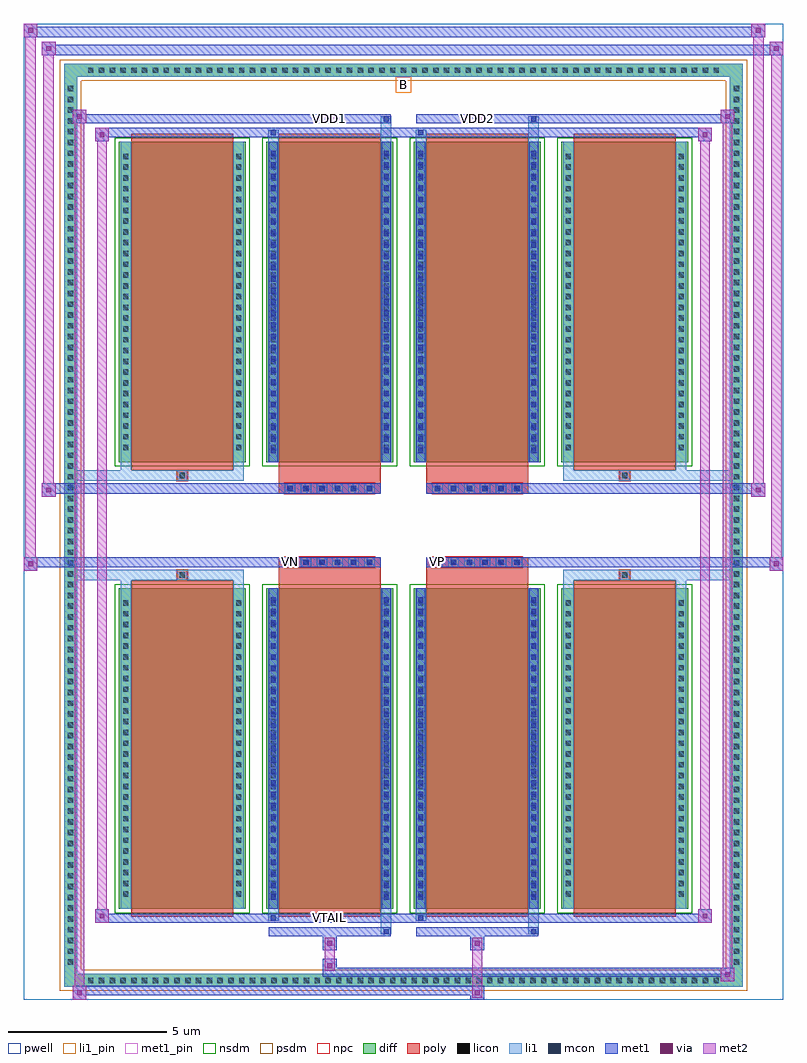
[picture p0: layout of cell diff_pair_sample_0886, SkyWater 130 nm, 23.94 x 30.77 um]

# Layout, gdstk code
import gdstk
lib = gdstk.Library(unit=1e-6, precision=5e-09)
def R(c, l, rs):  # rectangles x0, y0, x1, y1
    for r in rs: c.add(gdstk.rectangle(r[:2], r[2:], *l))
def A(c, l, x, y, w, h, nx, ny, dx, dy):  # array of equal rectangles
    R(c, l, [(x+i*dx, y+j*dy, x+i*dx+w, y+j*dy+h) for i in range(nx) for j in range(ny)])
def P(c, l, *ps):  # polygons
    for p in ps: c.add(gdstk.Polygon(p, *l))
pwell = (64, 44)
diff = (65, 20)
poly = (66, 20)
licon = (66, 44)
li1_pin = (67, 16)
li1 = (67, 20)
mcon = (67, 44)
met1_pin = (68, 16)
met1 = (68, 20)
via = (68, 44)
met2 = (69, 20)
nsdm = (93, 44)
psdm = (94, 20)
npc = (95, 20)

diff_pair_sample_0886 = lib.new_cell('diff_pair_sample_0886')
R(diff_pair_sample_0886, pwell, [(-11.97,-14.95,11.97,15.82), (-9.29,-13.14,-0.01,-0.8), (0.01,-13.14,9.29,-0.8), (-9.29,0.8,-0.01,13.14), (0.01,0.8,9.29,13.14)])
A(diff_pair_sample_0886, diff, -10.065, -14.55, 0.41, 0.41, 59, 2, 0.34, 28.69)
A(diff_pair_sample_0886, diff, -10.7, -13.975, 0.41, 0.41, 1, 82, 0, 0.34)
A(diff_pair_sample_0886, diff, 10.29, -13.975, 0.41, 0.41, 1, 82, 0, 0.34)
A(diff_pair_sample_0886, diff, -8.98, -12.095, 4.01, 10.11, 4, 2, 4.65, 14.08)
R(diff_pair_sample_0886, diff, [(-10.065,-14.55,10.065,-14.14), (-10.7,-13.975,-10.29,13.975), (10.29,-13.975,10.7,13.975), (-10.065,14.14,10.065,14.55)])
P(diff_pair_sample_0886, diff, [(10.7,14.55),(-10.7,14.55),(-10.7,-14.14),(-10.29,-14.14),(-10.29,14.14),(10.29,14.14),(10.29,-14.14),(-10.29,-14.14),(-10.7,-14.14),(-10.7,-14.55),(10.7,-14.55)])
A(diff_pair_sample_0886, poly, -8.59, -12.345, 3.23, 10.61, 4, 2, 4.65, 14.08)
A(diff_pair_sample_0886, poly, -3.74, -1.33, 0.33, 0.33, 6, 2, 0.5, 2.33)
A(diff_pair_sample_0886, poly, 0.91, -1.33, 0.33, 0.33, 6, 2, 0.5, 2.33)
R(diff_pair_sample_0886, poly, [(-7.14,-1.735,-6.81,-1.405), (-7.14,-1.735,-6.81,-1.405), (-3.94,-1.735,-0.71,-1.33), (0.71,-1.735,3.94,-1.33), (6.81,-1.735,7.14,-1.405), (6.81,-1.735,7.14,-1.405), (-3.94,-1.33,-0.71,-1), (0.71,-1.33,3.94,-1), (-3.94,1,-0.71,1.33), (0.71,1,3.94,1.33), (-3.94,1.33,-0.71,1.735), (0.71,1.33,3.94,1.735), (-7.14,1.405,-6.81,1.735), (-7.14,1.405,-6.81,1.735), (6.81,1.405,7.14,1.735), (6.81,1.405,7.14,1.735)])
A(diff_pair_sample_0886, licon, -9.945, -14.43, 0.17, 0.17, 59, 2, 0.34, 28.69)
A(diff_pair_sample_0886, licon, -10.58, -13.855, 0.17, 0.17, 1, 82, 0, 0.34)
A(diff_pair_sample_0886, licon, 10.41, -13.855, 0.17, 0.17, 1, 82, 0, 0.34)
A(diff_pair_sample_0886, licon, -8.84, -11.715, 0.17, 0.17, 1, 28, 0, 0.34)
A(diff_pair_sample_0886, licon, -5.28, -11.715, 0.17, 0.17, 1, 28, 0, 0.34)
A(diff_pair_sample_0886, licon, -4.19, -11.715, 0.17, 0.17, 1, 28, 0, 0.34)
A(diff_pair_sample_0886, licon, -0.63, -11.715, 0.17, 0.17, 1, 28, 0, 0.34)
A(diff_pair_sample_0886, licon, 0.46, -11.715, 0.17, 0.17, 1, 28, 0, 0.34)
A(diff_pair_sample_0886, licon, 4.02, -11.715, 0.17, 0.17, 1, 28, 0, 0.34)
A(diff_pair_sample_0886, licon, 5.11, -11.715, 0.17, 0.17, 1, 28, 0, 0.34)
A(diff_pair_sample_0886, licon, 8.67, -11.715, 0.17, 0.17, 1, 28, 0, 0.34)
A(diff_pair_sample_0886, licon, -3.66, -1.25, 0.17, 0.17, 6, 2, 0.5, 2.33)
A(diff_pair_sample_0886, licon, 0.99, -1.25, 0.17, 0.17, 6, 2, 0.5, 2.33)
A(diff_pair_sample_0886, licon, -8.84, 2.365, 0.17, 0.17, 1, 28, 0, 0.34)
A(diff_pair_sample_0886, licon, -5.28, 2.365, 0.17, 0.17, 1, 28, 0, 0.34)
A(diff_pair_sample_0886, licon, -4.19, 2.365, 0.17, 0.17, 1, 28, 0, 0.34)
A(diff_pair_sample_0886, licon, -0.63, 2.365, 0.17, 0.17, 1, 28, 0, 0.34)
A(diff_pair_sample_0886, licon, 0.46, 2.365, 0.17, 0.17, 1, 28, 0, 0.34)
A(diff_pair_sample_0886, licon, 4.02, 2.365, 0.17, 0.17, 1, 28, 0, 0.34)
A(diff_pair_sample_0886, licon, 5.11, 2.365, 0.17, 0.17, 1, 28, 0, 0.34)
A(diff_pair_sample_0886, licon, 8.67, 2.365, 0.17, 0.17, 1, 28, 0, 0.34)
R(diff_pair_sample_0886, licon, [(-7.06,-1.655,-6.89,-1.485), (6.89,-1.655,7.06,-1.485), (-7.06,1.485,-6.89,1.655), (6.89,1.485,7.06,1.655)])
R(diff_pair_sample_0886, li1_pin, [(-0.25,13.64,0.25,14.14)])
A(diff_pair_sample_0886, li1, -10.025, -14.51, 0.33, 0.33, 59, 2, 0.34, 28.69)
A(diff_pair_sample_0886, li1, -10.66, -13.935, 0.33, 0.33, 1, 82, 0, 0.34)
A(diff_pair_sample_0886, li1, 10.33, -13.935, 0.33, 0.33, 1, 82, 0, 0.34)
A(diff_pair_sample_0886, li1, -4.19, -11.805, 0.17, 0.17, 1, 27, 0, 0.36)
A(diff_pair_sample_0886, li1, -0.63, -11.805, 0.17, 0.17, 1, 27, 0, 0.36)
A(diff_pair_sample_0886, li1, 0.46, -11.805, 0.17, 0.17, 1, 27, 0, 0.36)
A(diff_pair_sample_0886, li1, 4.02, -11.805, 0.17, 0.17, 1, 27, 0, 0.36)
A(diff_pair_sample_0886, li1, -8.92, -11.795, 0.33, 0.33, 1, 28, 0, 0.34)
A(diff_pair_sample_0886, li1, -5.36, -11.795, 0.33, 0.33, 1, 28, 0, 0.34)
A(diff_pair_sample_0886, li1, -4.27, -11.795, 0.33, 0.33, 1, 28, 0, 0.34)
A(diff_pair_sample_0886, li1, -0.71, -11.795, 0.33, 0.33, 1, 28, 0, 0.34)
A(diff_pair_sample_0886, li1, 0.38, -11.795, 0.33, 0.33, 1, 28, 0, 0.34)
A(diff_pair_sample_0886, li1, 3.94, -11.795, 0.33, 0.33, 1, 28, 0, 0.34)
A(diff_pair_sample_0886, li1, 5.03, -11.795, 0.33, 0.33, 1, 28, 0, 0.34)
A(diff_pair_sample_0886, li1, 8.59, -11.795, 0.33, 0.33, 1, 28, 0, 0.34)
A(diff_pair_sample_0886, li1, -3.74, -1.33, 0.33, 0.33, 6, 2, 0.5, 2.33)
A(diff_pair_sample_0886, li1, 0.91, -1.33, 0.33, 0.33, 6, 2, 0.5, 2.33)
A(diff_pair_sample_0886, li1, -4.19, 2.275, 0.17, 0.17, 1, 27, 0, 0.36)
A(diff_pair_sample_0886, li1, -0.63, 2.275, 0.17, 0.17, 1, 27, 0, 0.36)
A(diff_pair_sample_0886, li1, 0.46, 2.275, 0.17, 0.17, 1, 27, 0, 0.36)
A(diff_pair_sample_0886, li1, 4.02, 2.275, 0.17, 0.17, 1, 27, 0, 0.36)
A(diff_pair_sample_0886, li1, -8.92, 2.285, 0.33, 0.33, 1, 28, 0, 0.34)
A(diff_pair_sample_0886, li1, -5.36, 2.285, 0.33, 0.33, 1, 28, 0, 0.34)
A(diff_pair_sample_0886, li1, -4.27, 2.285, 0.33, 0.33, 1, 28, 0, 0.34)
A(diff_pair_sample_0886, li1, -0.71, 2.285, 0.33, 0.33, 1, 28, 0, 0.34)
A(diff_pair_sample_0886, li1, 0.38, 2.285, 0.33, 0.33, 1, 28, 0, 0.34)
A(diff_pair_sample_0886, li1, 3.94, 2.285, 0.33, 0.33, 1, 28, 0, 0.34)
A(diff_pair_sample_0886, li1, 5.03, 2.285, 0.33, 0.33, 1, 28, 0, 0.34)
A(diff_pair_sample_0886, li1, 8.59, 2.285, 0.33, 0.33, 1, 28, 0, 0.34)
R(diff_pair_sample_0886, li1, [(-10.7,-14.55,-10.29,-14.14), (-10.7,-14.55,-10.29,-14.14), (-10.29,-14.55,10.29,-14.14), (10.29,-14.55,10.7,-14.14), (10.29,-14.55,10.7,-14.14), (-10.7,-14.14,-10.29,14.14), (10.29,-14.14,10.7,14.14), (-0.71,-12.9,-0.38,-12.095), (-0.63,-12.9,-0.46,-12.73), (3.94,-12.9,4.27,-12.095), (4.02,-12.9,4.19,-12.73), (-4.27,-12.47,-3.94,-12.095), (-4.19,-12.47,-4.02,-12.3), (0.38,-12.47,0.71,-12.095), (0.46,-12.47,0.63,-12.3), (-8.92,-12.095,-8.59,-1.985), (-5.36,-12.095,-5.03,-1.985), (-4.27,-12.095,-3.94,-1.985), (-0.71,-12.095,-0.38,-1.985), (0.38,-12.095,0.71,-1.985), (3.94,-12.095,4.27,-1.985), (5.03,-12.095,5.36,-1.985), (8.59,-12.095,8.92,-1.985), (-4.19,-11.805,-4.02,-2.275), (-0.63,-11.805,-0.46,-2.275), (0.46,-11.805,0.63,-2.275), (4.02,-11.805,4.19,-2.275), (-8.92,-1.985,-8.59,-1.405), (-5.36,-1.985,-5.03,-1.405), (5.03,-1.985,5.36,-1.405), (8.59,-1.985,8.92,-1.405), (-10.7,-1.735,-7.14,-1.405), (-8.92,-1.735,-7.14,-1.405), (-7.14,-1.735,-6.81,-1.405), (-6.81,-1.735,-5.03,-1.405), (5.03,-1.735,6.81,-1.405), (6.81,-1.735,7.14,-1.405), (6.81,-1.735,10.7,-1.405), (7.14,-1.735,8.92,-1.405), (-10.7,1.405,-7.14,1.735), (-8.92,1.405,-7.14,1.735), (-8.92,1.405,-8.59,1.985), (-7.14,1.405,-6.81,1.735), (-6.81,1.405,-5.03,1.735), (-5.36,1.405,-5.03,1.985), (5.03,1.405,6.81,1.735), (5.03,1.405,5.36,1.985), (6.81,1.405,7.14,1.735), (6.81,1.405,10.7,1.735), (7.14,1.405,8.92,1.735), (8.59,1.405,8.92,1.985), (-8.92,1.985,-8.59,12.095), (-5.36,1.985,-5.03,12.095), (-4.27,1.985,-3.94,12.095), (-0.71,1.985,-0.38,12.095), (0.38,1.985,0.71,12.095), (3.94,1.985,4.27,12.095), (5.03,1.985,5.36,12.095), (8.59,1.985,8.92,12.095), (-4.19,2.275,-4.02,11.805), (-0.63,2.275,-0.46,11.805), (0.46,2.275,0.63,11.805), (4.02,2.275,4.19,11.805), (-4.27,12.095,-3.94,12.47), (-0.71,12.095,-0.38,12.9), (0.38,12.095,0.71,12.47), (3.94,12.095,4.27,12.9), (-4.19,12.3,-4.02,12.47), (0.46,12.3,0.63,12.47), (-0.63,12.73,-0.46,12.9), (4.02,12.73,4.19,12.9), (-10.7,14.14,-10.29,14.55), (-10.7,14.14,-10.29,14.55), (-10.29,14.14,10.29,14.55), (10.29,14.14,10.7,14.55), (10.29,14.14,10.7,14.55)])
A(diff_pair_sample_0886, mcon, -4.19, -11.805, 0.17, 0.17, 1, 27, 0, 0.36)
A(diff_pair_sample_0886, mcon, -0.63, -11.805, 0.17, 0.17, 1, 27, 0, 0.36)
A(diff_pair_sample_0886, mcon, 0.46, -11.805, 0.17, 0.17, 1, 27, 0, 0.36)
A(diff_pair_sample_0886, mcon, 4.02, -11.805, 0.17, 0.17, 1, 27, 0, 0.36)
A(diff_pair_sample_0886, mcon, -3.66, -1.25, 0.17, 0.17, 6, 2, 0.5, 2.33)
A(diff_pair_sample_0886, mcon, 0.99, -1.25, 0.17, 0.17, 6, 2, 0.5, 2.33)
A(diff_pair_sample_0886, mcon, -4.19, 2.275, 0.17, 0.17, 1, 27, 0, 0.36)
A(diff_pair_sample_0886, mcon, -0.63, 2.275, 0.17, 0.17, 1, 27, 0, 0.36)
A(diff_pair_sample_0886, mcon, 0.46, 2.275, 0.17, 0.17, 1, 27, 0, 0.36)
A(diff_pair_sample_0886, mcon, 4.02, 2.275, 0.17, 0.17, 1, 27, 0, 0.36)
R(diff_pair_sample_0886, mcon, [(-0.63,-12.9,-0.46,-12.73), (4.02,-12.9,4.19,-12.73), (-4.19,-12.47,-4.02,-12.3), (0.46,-12.47,0.63,-12.3), (-4.19,12.3,-4.02,12.47), (0.46,12.3,0.63,12.47), (-0.63,12.73,-0.46,12.9), (4.02,12.73,4.19,12.9)])
R(diff_pair_sample_0886, met1_pin, [(-2.46,-12.51,-2.19,-12.24), (-3.71,-1.29,-3.44,-1.02), (0.94,-1.29,1.21,-1.02), (-2.46,12.69,-2.19,12.96), (2.19,12.69,2.46,12.96)])
A(diff_pair_sample_0886, met1, -4.25, -11.865, 0.29, 0.29, 1, 27, 0, 0.36)
A(diff_pair_sample_0886, met1, -0.69, -11.865, 0.29, 0.29, 1, 27, 0, 0.36)
A(diff_pair_sample_0886, met1, 0.4, -11.865, 0.29, 0.29, 1, 27, 0, 0.36)
A(diff_pair_sample_0886, met1, 3.96, -11.865, 0.29, 0.29, 1, 27, 0, 0.36)
A(diff_pair_sample_0886, met1, -3.72, -1.31, 0.29, 0.29, 6, 2, 0.5, 2.33)
A(diff_pair_sample_0886, met1, 0.93, -1.31, 0.29, 0.29, 6, 2, 0.5, 2.33)
A(diff_pair_sample_0886, met1, -4.25, 2.215, 0.29, 0.29, 1, 27, 0, 0.36)
A(diff_pair_sample_0886, met1, -0.69, 2.215, 0.29, 0.29, 1, 27, 0, 0.36)
A(diff_pair_sample_0886, met1, 0.4, 2.215, 0.29, 0.29, 1, 27, 0, 0.36)
A(diff_pair_sample_0886, met1, 3.96, 2.215, 0.29, 0.29, 1, 27, 0, 0.36)
R(diff_pair_sample_0886, met1, [(-10.43,-14.95,-10,-14.52), (2.11,-14.95,2.54,-14.52), (-10.43,-14.81,2.54,-14.52), (10,-14.38,10.43,-13.95), (-2.54,-14.24,10.43,-13.95), (-2.54,-14.1,-2.11,-13.67), (-2.54,-13.39,-2.11,-12.96), (2.11,-13.39,2.54,-12.96), (-4.25,-12.96,-0.4,-12.67), (-0.69,-12.96,-0.4,-12.67), (0.4,-12.96,4.25,-12.67), (3.96,-12.96,4.25,-12.67), (-9.72,-12.53,-9.29,-12.1), (-9.72,-12.53,-4.25,-12.24), (-4.25,-12.53,-3.96,-12.24), (-4.25,-12.53,-0.4,-12.24), (-0.4,-12.53,0.4,-12.24), (0.4,-12.53,0.69,-12.24), (0.4,-12.53,4.25,-12.24), (4.25,-12.53,9.72,-12.24), (9.29,-12.53,9.72,-12.1), (-4.25,-12.095,-3.96,-1.985), (-0.69,-12.095,-0.4,-1.985), (0.4,-12.095,0.69,-1.985), (3.96,-12.095,4.25,-1.985), (-11.97,-1.43,-11.54,-1), (11.54,-1.43,11.97,-1), (-11.97,-1.33,-0.71,-1), (-3.94,-1.33,-0.71,-1), (0.71,-1.33,3.94,-1), (0.71,-1.33,11.97,-1), (-11.4,0.9,-10.97,1.33), (10.97,0.9,11.4,1.33), (-11.4,1,-3.94,1.33), (-3.94,1,-0.71,1.33), (0.71,1,3.94,1.33), (3.94,1,11.4,1.33), (-4.25,1.985,-3.96,12.095), (-0.69,1.985,-0.4,12.095), (0.4,1.985,0.69,12.095), (3.96,1.985,4.25,12.095), (-9.72,12.1,-9.29,12.53), (9.29,12.1,9.72,12.53), (-9.72,12.24,-4.25,12.53), (-4.25,12.24,-3.96,12.53), (-4.25,12.24,-0.4,12.53), (-0.4,12.24,0.4,12.53), (0.4,12.24,0.69,12.53), (0.4,12.24,4.25,12.53), (4.25,12.24,9.72,12.53), (-10.43,12.67,-10,13.1), (-10.43,12.67,-4.25,12.96), (-4.25,12.67,-0.4,12.96), (-0.69,12.67,-0.4,12.96), (0.4,12.67,4.25,12.96), (3.96,12.67,4.25,12.96), (4.25,12.67,10.43,12.96), (10,12.67,10.43,13.1), (-11.4,14.82,-10.97,15.25), (-11.4,14.82,-9.29,15.15), (-9.29,14.82,9.29,15.15), (9.29,14.82,11.97,15.15), (11.54,14.82,11.97,15.25), (-11.97,15.39,-11.54,15.82), (-11.97,15.39,-9.29,15.72), (-9.29,15.39,9.29,15.72), (9.29,15.39,11.4,15.72), (10.97,15.39,11.4,15.82)])
R(diff_pair_sample_0886, via, [(-10.29,-14.81,-10.14,-14.66), (2.25,-14.81,2.4,-14.66), (10.14,-14.24,10.29,-14.09), (-2.4,-13.96,-2.25,-13.81), (-2.4,-13.25,-2.25,-13.1), (2.25,-13.25,2.4,-13.1), (-9.58,-12.39,-9.43,-12.24), (9.43,-12.39,9.58,-12.24), (-11.83,-1.29,-11.68,-1.14), (11.68,-1.29,11.83,-1.14), (-11.26,1.04,-11.11,1.19), (11.11,1.04,11.26,1.19), (-9.58,12.24,-9.43,12.39), (9.43,12.24,9.58,12.39), (-10.29,12.81,-10.14,12.96), (10.14,12.81,10.29,12.96), (-11.26,14.96,-11.11,15.11), (11.68,14.96,11.83,15.11), (-11.83,15.53,-11.68,15.68), (11.11,15.53,11.26,15.68)])
R(diff_pair_sample_0886, met2, [(-10.43,-14.95,-10,-14.52), (-10.36,-14.95,-10.07,13.1), (-10.07,-14.95,-10,-14.52), (-10.38,-14.9,-10.05,-14.57), (2.16,-14.9,2.49,-14.57), (2.16,-14.57,2.49,-13.34), (10,-14.38,10.43,-13.95), (10.07,-14.38,10.36,13.1), (10.36,-14.38,10.43,-13.95), (10.05,-14.33,10.38,-14), (-2.49,-14.05,-2.16,-13.72), (-2.49,-13.72,-2.16,-13.34), (-2.49,-13.34,-2.16,-13.01), (2.16,-13.34,2.49,-13.01), (-9.72,-12.53,-9.29,-12.1), (-9.65,-12.53,-9.36,12.53), (-9.36,-12.53,-9.29,-12.1), (9.29,-12.53,9.72,-12.1), (9.36,-12.53,9.65,12.53), (9.65,-12.53,9.72,-12.1), (-9.67,-12.48,-9.34,-12.15), (9.34,-12.48,9.67,-12.15), (-11.97,-1.43,-11.54,-1), (-11.92,-1.43,-11.59,15.82), (-11.59,-1.43,-11.54,-1), (11.54,-1.43,11.97,-1), (11.59,-1.43,11.92,15.25), (11.92,-1.43,11.97,-1), (-11.92,-1.38,-11.59,-1.05), (11.59,-1.38,11.92,-1.05), (-11.4,0.9,-10.97,1.33), (-11.35,0.9,-11.02,15.25), (-11.02,0.9,-10.97,1.33), (10.97,0.9,11.4,1.33), (11.02,0.9,11.35,15.82), (11.35,0.9,11.4,1.33), (-11.35,0.95,-11.02,1.28), (11.02,0.95,11.35,1.28), (-9.72,12.1,-9.29,12.53), (-9.36,12.1,-9.29,12.53), (9.29,12.1,9.72,12.53), (9.65,12.1,9.72,12.53), (-9.67,12.15,-9.34,12.48), (9.34,12.15,9.67,12.48), (-10.43,12.67,-10,13.1), (-10.07,12.67,-10,13.1), (10,12.67,10.43,13.1), (10.36,12.67,10.43,13.1), (-10.38,12.72,-10.05,13.05), (10.05,12.72,10.38,13.05), (-11.4,14.82,-10.97,15.25), (-11.02,14.82,-10.97,15.25), (11.54,14.82,11.97,15.25), (11.92,14.82,11.97,15.25), (-11.35,14.87,-11.02,15.2), (11.59,14.87,11.92,15.2), (-11.97,15.39,-11.54,15.82), (-11.59,15.39,-11.54,15.82), (10.97,15.39,11.4,15.82), (11.35,15.39,11.4,15.82), (-11.92,15.44,-11.59,15.77), (11.02,15.44,11.35,15.77)])
A(diff_pair_sample_0886, nsdm, -9.11, -12.225, 4.27, 10.37, 4, 2, 4.65, 14.08)
P(diff_pair_sample_0886, psdm, [(10.83,14.68),(-10.83,14.68),(-10.83,-14.01),(-10.16,-14.01),(-10.16,14.01),(10.16,14.01),(10.16,-14.01),(-10.16,-14.01),(-10.83,-14.01),(-10.83,-14.68),(10.83,-14.68)])
A(diff_pair_sample_0886, npc, -3.76, -1.35, 0.37, 0.37, 6, 2, 0.5, 2.33)
A(diff_pair_sample_0886, npc, 0.89, -1.35, 0.37, 0.37, 6, 2, 0.5, 2.33)
R(diff_pair_sample_0886, npc, [(-7.16,-1.755,-6.79,-1.385), (6.79,-1.755,7.16,-1.385), (-3.76,-1.35,-2.89,-0.98), (-3.76,-1.35,-2.89,-0.98), (-3.26,-1.35,-2.39,-0.98), (-3.26,-1.35,-2.39,-0.98), (-2.76,-1.35,-1.89,-0.98), (-2.76,-1.35,-1.89,-0.98), (-2.26,-1.35,-1.39,-0.98), (-2.26,-1.35,-1.39,-0.98), (-1.76,-1.35,-0.89,-0.98), (-1.76,-1.35,-0.89,-0.98), (0.89,-1.35,1.76,-0.98), (0.89,-1.35,1.76,-0.98), (1.39,-1.35,2.26,-0.98), (1.39,-1.35,2.26,-0.98), (1.89,-1.35,2.76,-0.98), (1.89,-1.35,2.76,-0.98), (2.39,-1.35,3.26,-0.98), (2.39,-1.35,3.26,-0.98), (2.89,-1.35,3.76,-0.98), (2.89,-1.35,3.76,-0.98), (-3.76,0.98,-2.89,1.35), (-3.76,0.98,-2.89,1.35), (-3.26,0.98,-2.39,1.35), (-3.26,0.98,-2.39,1.35), (-2.76,0.98,-1.89,1.35), (-2.76,0.98,-1.89,1.35), (-2.26,0.98,-1.39,1.35), (-2.26,0.98,-1.39,1.35), (-1.76,0.98,-0.89,1.35), (-1.76,0.98,-0.89,1.35), (0.89,0.98,1.76,1.35), (0.89,0.98,1.76,1.35), (1.39,0.98,2.26,1.35), (1.39,0.98,2.26,1.35), (1.89,0.98,2.76,1.35), (1.89,0.98,2.76,1.35), (2.39,0.98,3.26,1.35), (2.39,0.98,3.26,1.35), (2.89,0.98,3.76,1.35), (2.89,0.98,3.76,1.35), (-7.16,1.385,-6.79,1.755), (6.79,1.385,7.16,1.755)])
diff_pair_sample_0886.add(gdstk.Label('VTAIL', (-2.325,-12.375), layer=68, texttype=5))
diff_pair_sample_0886.add(gdstk.Label('VN', (-3.575,-1.155), layer=68, texttype=5))
diff_pair_sample_0886.add(gdstk.Label('VP', (1.075,-1.155), layer=68, texttype=5))
diff_pair_sample_0886.add(gdstk.Label('B', (0,13.89), layer=67, texttype=5))
diff_pair_sample_0886.add(gdstk.Label('VDD2', (2.325,12.825), layer=68, texttype=5))
diff_pair_sample_0886.add(gdstk.Label('VDD1', (-2.325,12.825), layer=68, texttype=5))

lib.write_gds('diff_pair_sample_0886.gds')
